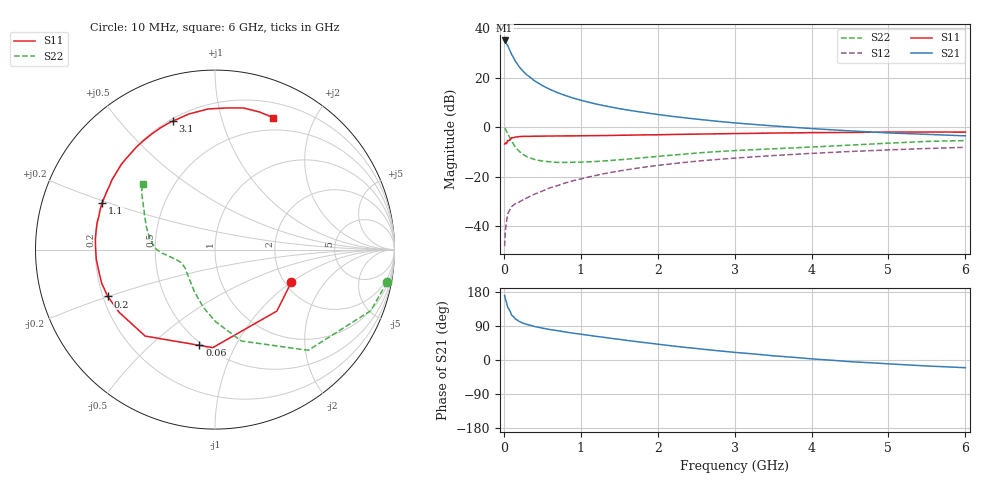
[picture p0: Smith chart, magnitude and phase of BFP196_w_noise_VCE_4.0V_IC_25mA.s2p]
! Infineon Technologies  Discrete & RF Semiconductors
! BFP196
! VCE =  4.0 V,  IC =  25 mA
! Common Emitter S-Parameters:  Jan 2017
# GHz  S  MA  R  50
!  f  S11  S21  S12  S22
! GHz  MAG  ANG  MAG  ANG  MAG  ANG  MAG  ANG
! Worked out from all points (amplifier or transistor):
!   77 points, 10 MHz to 6 GHz, reference 50 ohm
!   highest |S21| = 35.1 dB at 10 MHz (marker M1)
!   |S21| within 3 dB of that: start of sweep to 63.3 MHz
!   unconditionally stable (mu >= 1): 686.2 MHz to 2.402 GHz
!   at 130 MHz: K = 0.44, MSG = 29.6 dB, |S12| = -31.3 dB
!   at 2.2 GHz: K = 1.01, MAG = 8.8 dB, |S12| = -14.6 dB
!   at 6 GHz: K = 0.94, MSG = 2.3 dB, |S12| = -8.0 dB
!   lowest NFmin = 1.15 dB at 450 MHz
!   S11 on the Smith chart (normalised r, x): 10 MHz: 2.16, -1.00; 60 MHz: 0.48, -0.73; 200 MHz: 0.22, -0.20; 1.1 GHz: 0.20, +0.19; 3.1 GHz: 0.21, +0.70; 6 GHz: 0.36, +1.47
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0.01  0.4618 -23.3  56.9 170.3  0.004 83.4  0.9751 -10.8
0.02  0.4859 -44.8  55.45 161.3  0.0081 78.0  0.9326 -21.4
0.04  0.49 -77.4  47.35 147.6  0.0144 62.3  0.8011 -37.5
0.05  0.5463 -91.3  44.57 139.2  0.0177 58.8  0.7645 -47.2
0.06  0.5405 -99.3  41.34 136.3  0.0191 56.1  0.7079 -51.1
0.1  0.6192 -128.9  30 118.8  0.025 48.6  0.5301 -73.9
0.15  0.638 -146.7  21.64 108.4  0.0288 46.0  0.3999 -89.8
0.2  0.6523 -156.4  16.76 101.8  0.0312 47.7  0.3293 -101.2
0.25  0.6584 -163.5  13.61 97.0  0.0345 48.4  0.2848 -109.6
0.3  0.6582 -168.3  11.44 93.8  0.0377 50.2  0.2564 -117.2
0.4  0.6636 -175.4  8.688 88.3  0.0449 53.7  0.2247 -127.7
0.5  0.6657 178.9  6.973 84.1  0.0518 56.2  0.2091 -135.7
0.6  0.6694 174.6  5.847 80.4  0.0603 57.7  0.202 -141.9
0.7  0.6708 170.9  5.017 77.3  0.067 59.8  0.1965 -146.6
0.9  0.6735 163.8  3.912 70.9  0.0838 60.0  0.1977 -153.2
1.1  0.6805 157.6  3.228 65.3  0.0994 59.7  0.2019 -158.1
1.5  0.6934 146.1  2.394 54.5  0.1316 56.9  0.2222 -165.4
2.1  0.7147 129.8  1.741 39.4  0.1779 50.5  0.2679 -173.0
3.1  0.7533 108.1  1.199 18.5  0.2456 38.3  0.3458 175.4
4.1  0.7848 91.3  0.927 1.6  0.304 26.8  0.4084 160.1
5.1  0.8042 77.3  0.763 -11.3  0.356 15.2  0.488 145.7
6  0.8032 66.2  0.675 -20.4  0.3961 5.1  0.5419 137.8
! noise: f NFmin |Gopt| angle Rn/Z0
0.45  1.15  0.34  164  0.05
0.9  1.34  0.45  -176  0.06
1.9  2.21  0.68  -136  0.24
2.4  2.64  0.71  -122  0.59
